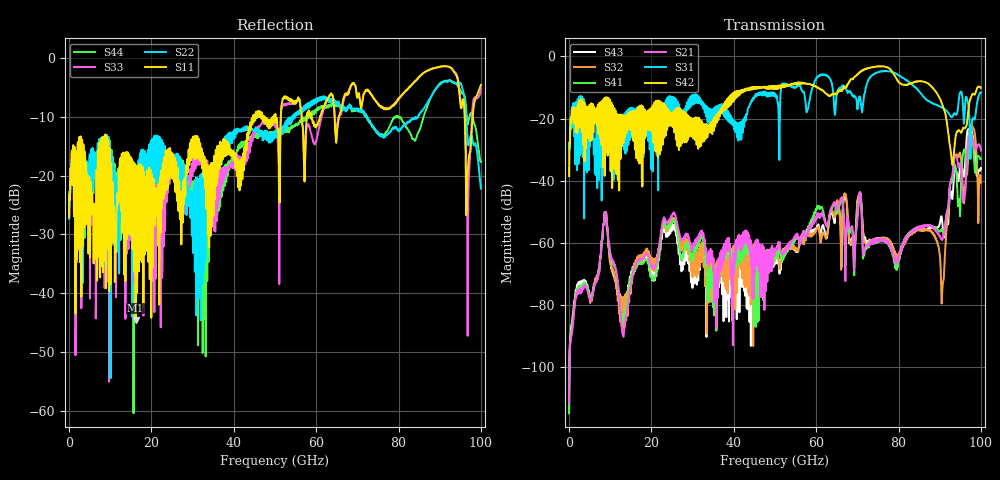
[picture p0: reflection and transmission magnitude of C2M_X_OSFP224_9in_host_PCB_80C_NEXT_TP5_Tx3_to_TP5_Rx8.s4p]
# GHz S RI R 45
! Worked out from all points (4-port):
!   4000 points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, 25 MHz to 100 GHz, reference 45 ohm
!   strongest paths, dB at 25 MHz, 25.02 GHz, 50.02 GHz, 75.03 GHz, 100 GHz:
!     S42: -38.5, -18.2, -10.6, -3.2, -10.2
!     S31: -37.8, -15.4, -12.1, -5.0, -11.6
!     S21: -111.6, -51.1, -61.7, -59.1, -30.3
!     S41: -114.9, -53.3, -63.3, -59.0, -32.9
!     S32: -114.1, -53.0, -62.7, -58.9, -40.6
!     S43: -106.1, -55.1, -65.7, -58.6, -35.9
!   lowest |S11| = -44.6 dB at 16.15 GHz (marker M1), VSWR 1.01, Z = 44.5 - j0.054 ohm
!   |S11| at or under -10 dB: start of sweep to 44.63 GHz; 58.96 GHz to 60.91 GHz (1.943 GHz wide, 3.24 % of centre); 96.08 GHz to 98 GHz (1.928 GHz wide, 1.99 % of centre) (the widest 3 of 16)
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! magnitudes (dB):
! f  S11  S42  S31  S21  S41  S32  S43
! 25 MHz  -27.0  -38.5  -37.8  -111.6  -114.9  -114.1  -106.1
! 8.725 GHz  -16.0  -16.7  -17.5  -50.5  -50.6  -50.9  -51.1
! 16.15 GHz  -44.6  -17.7  -22.1  -67.5  -68.2  -65.9  -66.9
! 67 GHz  -6.1  -10.2  -9.8  -62.8  -62.5  -44.1  -44.7
! 90.67 GHz  -1.4  -15.6  -16.5  -58.8  -56.3  -74.2  -54.3
! 93.85 GHz  -2.7  -25.8  -18.7  -32.1  -35.6  -31.7  -36.5
! 100 GHz  -4.6  -10.2  -11.6  -30.3  -32.9  -40.6  -35.9
